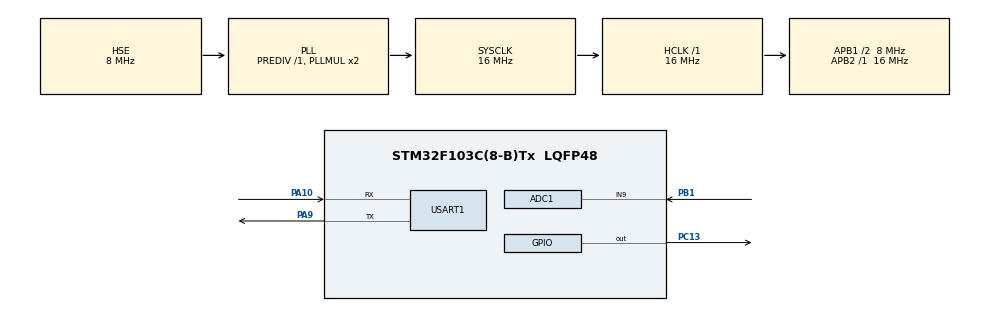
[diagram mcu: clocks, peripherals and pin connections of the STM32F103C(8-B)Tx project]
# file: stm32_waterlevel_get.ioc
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ADC1.Channel-1\#ChannelRegularConversion=ADC_CHANNEL_9
ADC1.ContinuousConvMode=ENABLE
ADC1.NbrOfConversionFlag=1
ADC1.Rank-1\#ChannelRegularConversion=1
ADC1.SamplingTime-1\#ChannelRegularConversion=ADC_SAMPLETIME_239CYCLES_5
ADC1.master=1
Dma.ADC1.0.Direction=DMA_PERIPH_TO_MEMORY
Dma.ADC1.0.Instance=DMA1_Channel1
Dma.ADC1.0.MemDataAlignment=DMA_MDATAALIGN_HALFWORD
Dma.ADC1.0.MemInc=DMA_MINC_ENABLE
Dma.ADC1.0.Mode=DMA_CIRCULAR
Dma.ADC1.0.PeriphDataAlignment=DMA_PDATAALIGN_HALFWORD
Dma.ADC1.0.PeriphInc=DMA_PINC_DISABLE
Dma.ADC1.0.Priority=DMA_PRIORITY_HIGH
Dma.Request0=ADC1
Dma.Request1=USART1_TX
Dma.USART1_TX.1.Direction=DMA_MEMORY_TO_PERIPH
Dma.USART1_TX.1.Instance=DMA1_Channel4
Dma.USART1_TX.1.MemDataAlignment=DMA_MDATAALIGN_BYTE
Dma.USART1_TX.1.MemInc=DMA_MINC_ENABLE
Dma.USART1_TX.1.Mode=DMA_NORMAL
Dma.USART1_TX.1.PeriphDataAlignment=DMA_PDATAALIGN_BYTE
Dma.USART1_TX.1.PeriphInc=DMA_PINC_DISABLE
Dma.USART1_TX.1.Priority=DMA_PRIORITY_MEDIUM
Mcu.Family=STM32F1
Mcu.Name=STM32F103C(8-B)Tx
Mcu.Package=LQFP48
NVIC.DMA1_Channel1_IRQn=true\:0\:0\:false\:false\:true\:false\:true\:true
NVIC.DMA1_Channel4_IRQn=true\:0\:0\:false\:false\:true\:false\:true\:true
NVIC.PriorityGroup=NVIC_PRIORITYGROUP_4
NVIC.USART1_IRQn=true\:0\:0\:false\:false\:true\:false\:true\:true
PA10.Mode=Asynchronous
PA10.Signal=USART1_RX
PA13.Mode=Serial_Wire
PA13.Signal=SYS_JTMS-SWDIO
PA14.Mode=Serial_Wire
PA14.Signal=SYS_JTCK-SWCLK
PA9.Mode=Asynchronous
PA9.Signal=USART1_TX
PB1.Signal=ADCx_IN9
PC13-TAMPER-RTC.GPIO_ModeDefaultOutputPP=GPIO_MODE_OUTPUT_OD
PC13-TAMPER-RTC.GPIO_PuPd=GPIO_NOPULL
PC13-TAMPER-RTC.PinState=GPIO_PIN_SET
PC13-TAMPER-RTC.Signal=GPIO_Output
PD0-OSC_IN.Mode=HSE-External-Oscillator
PD0-OSC_IN.Signal=RCC_OSC_IN
PD1-OSC_OUT.Mode=HSE-External-Oscillator
PD1-OSC_OUT.Signal=RCC_OSC_OUT
ProjectManager.HeapSize=0x200
ProjectManager.StackSize=0x400
ProjectManager.TargetToolchain=MDK-ARM V5.32
RCC.AHBFreq_Value=16000000
RCC.APB1CLKDivider=RCC_HCLK_DIV2
RCC.APB1Freq_Value=8000000
RCC.APB1TimFreq_Value=16000000
RCC.APB2Freq_Value=16000000
RCC.APB2TimFreq_Value=16000000
RCC.HCLKFreq_Value=16000000
RCC.PLLSourceVirtual=RCC_PLLSOURCE_HSE
RCC.SYSCLKFreq_VALUE=16000000
RCC.SYSCLKSource=RCC_SYSCLKSOURCE_PLLCLK
RCC.USBFreq_Value=16000000
SH.ADCx_IN9.0=ADC1_IN9,IN9
USART1.VirtualMode=VM_ASYNC
board=custom

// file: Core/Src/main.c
/* USER CODE BEGIN Header */
/**
  ******************************************************************************
  * @file           : main.c
  * @brief          : Main program body
  ******************************************************************************
  * @attention
  *
  * Copyright (c) 2026 STMicroelectronics.
  * All rights reserved.
  *
  * This software is licensed under terms that can be found in the LICENSE file
  * in the root directory of this software component.
  * If no LICENSE file comes with this software, it is provided AS-IS.
  *
  ******************************************************************************
  */
/* USER CODE END Header */
#include "main.h"
#include "adc.h"
#include "dma.h"
#include "usart.h"
#include "gpio.h"

/* USER CODE BEGIN Includes */
#include "stdint.h"
#include "string.h"
#include "stdlib.h"
/* USER CODE END Includes */

/* USER CODE BEGIN PV */
uint16_t val[256];
uint32_t mv;
uint32_t last_filtered_value;
const float Voltage_min = 47;
const float Voltage_max = 100;
const float level_min = 0;
const float level_max = 870;
uint32_t level;

uint8_t head = 0xA5;
uint8_t tail = 0x12;
typedef struct
{
    uint8_t len;
    uint8_t data[4];
}__attribute__ ((packed)) serial_data;//这个是我定义的数据帧

typedef struct {
    uint8_t head;
    serial_data payload;
    uint8_t checksum;
		uint8_t tail;
} __attribute__((packed)) serial_frame;

uint8_t ready=0;
/* USER CODE END PV */

void SystemClock_Config(void);
/* USER CODE BEGIN PFP */
float mapFloat(float x, float in_min, float in_max, float out_min, float out_max)
{
  return (x - in_min) * (out_max - out_min) / (in_max - in_min) + out_min;
}

uint8_t Calculate_Checksum(uint8_t *params, uint8_t param_count) {
    uint16_t sum = 0;
    for (int i = 0; i < param_count; i++) {
        sum += params[i];
    }
    return (uint8_t)(~sum); // 取反，自动截断为低8位

}
serial_frame frame;
void serial_send_struct(UART_HandleTypeDef *uart, uint32_t data) {

    frame.head = head;
    frame.payload.len = 4;

    for (uint8_t i = 0; i < 4; i++) {
        frame.payload.data[i] = (data >> (i * 8)) & 0xFF;
    }

    frame.checksum = Calculate_Checksum((uint8_t*)&frame.payload, 1 + 4);

    frame.tail = tail;

    HAL_UART_Transmit_DMA(uart, (uint8_t*)&frame, sizeof(frame));
}
/* USER CODE END PFP */

int main(void)
{

  /* MCU Configuration--------------------------------------------------------*/

  /* Reset of all peripherals, Initializes the Flash interface and the Systick. */
  HAL_Init();

  /* Configure the system clock */
  SystemClock_Config();

  /* Initialize all configured peripherals */
  MX_GPIO_Init();
  MX_DMA_Init();
  MX_ADC1_Init();
  MX_USART1_UART_Init();
  /* USER CODE BEGIN 2 */
	HAL_GPIO_WritePin(GPIOC,GPIO_PIN_13,GPIO_PIN_RESET);
	HAL_ADCEx_Calibration_Start(&hadc1);
	HAL_ADC_Start_DMA(&hadc1,(uint32_t *)val,256);

  /* USER CODE END 2 */

  /* Infinite loop */
  /* USER CODE BEGIN WHILE */
  while (1)
  {
		if(ready)
		{
			mv = 4+(last_filtered_value*3300.0)/4096.0;//4mv offset
			level= mapFloat(mv, Voltage_min, Voltage_max, level_min, level_max);
			serial_send_struct(&huart1,level);

			ready = 0;
		}

    /* USER CODE END WHILE */

  }
}

void SystemClock_Config(void)
{
  RCC_OscInitTypeDef RCC_OscInitStruct = {0};
  RCC_ClkInitTypeDef RCC_ClkInitStruct = {0};
  RCC_PeriphCLKInitTypeDef PeriphClkInit = {0};

  /** Initializes the RCC Oscillators according to the specified parameters
  * in the RCC_OscInitTypeDef structure.
  */
  RCC_OscInitStruct.OscillatorType = RCC_OSCILLATORTYPE_HSE;
  RCC_OscInitStruct.HSEState = RCC_HSE_ON;
  RCC_OscInitStruct.HSEPredivValue = RCC_HSE_PREDIV_DIV1;
  RCC_OscInitStruct.HSIState = RCC_HSI_ON;
  RCC_OscInitStruct.PLL.PLLState = RCC_PLL_ON;
  RCC_OscInitStruct.PLL.PLLSource = RCC_PLLSOURCE_HSE;
  RCC_OscInitStruct.PLL.PLLMUL = RCC_PLL_MUL2;
  if (HAL_RCC_OscConfig(&RCC_OscInitStruct) != HAL_OK)
  {
    Error_Handler();
  }

  /** Initializes the CPU, AHB and APB buses clocks
  */
  RCC_ClkInitStruct.ClockType = RCC_CLOCKTYPE_HCLK|RCC_CLOCKTYPE_SYSCLK
                              |RCC_CLOCKTYPE_PCLK1|RCC_CLOCKTYPE_PCLK2;
  RCC_ClkInitStruct.SYSCLKSource = RCC_SYSCLKSOURCE_PLLCLK;
  RCC_ClkInitStruct.AHBCLKDivider = RCC_SYSCLK_DIV1;
  RCC_ClkInitStruct.APB1CLKDivider = RCC_HCLK_DIV2;
  RCC_ClkInitStruct.APB2CLKDivider = RCC_HCLK_DIV1;

  if (HAL_RCC_ClockConfig(&RCC_ClkInitStruct, FLASH_LATENCY_0) != HAL_OK)
  {
    Error_Handler();
  }
  PeriphClkInit.PeriphClockSelection = RCC_PERIPHCLK_ADC;
  PeriphClkInit.AdcClockSelection = RCC_ADCPCLK2_DIV2;
  if (HAL_RCCEx_PeriphCLKConfig(&PeriphClkInit) != HAL_OK)
  {
    Error_Handler();
  }
}

/* USER CODE BEGIN 4 */
void HAL_ADC_ConvCpltCallback(ADC_HandleTypeDef* hadc) {
    if (hadc->Instance == ADC1) {
        uint32_t sum = 0;
        for (int i = 0; i < 256; i++) {
            sum +=val[i];
        }
        uint32_t average = sum / 256;

        last_filtered_value = average;
				ready = 1;
    }
}
/* USER CODE END 4 */

void Error_Handler(void)
{
  __disable_irq();
  while (1)
  {
  }
}
